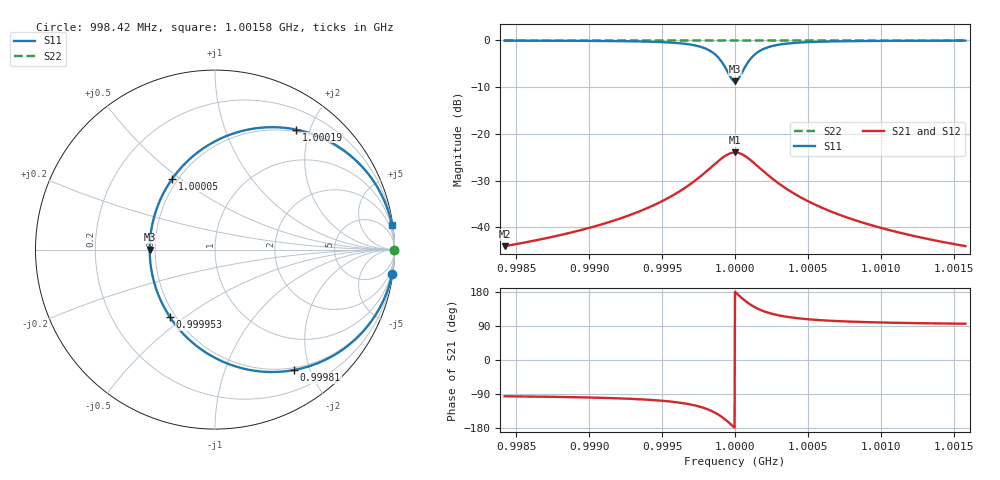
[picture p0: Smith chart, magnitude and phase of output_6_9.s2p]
! File generated for n1 = 6, n2 = 9
! b1 = 2.154435
! b2 = 0.004642
! Q0 = 10000.000000
! f0 = 1000000000.000000
! n = 1001
! rel_span = 10.000000
# Hz S RI R 50
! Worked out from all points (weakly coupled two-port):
!   1001 points, 998.42 MHz to 1.00158 GHz, reference 50 ohm
!   highest |S21| = -23.97 dB at 1 GHz (marker M1); lowest = -44.0 dB at 998.42 MHz (marker M2)
!   lowest |S11| = -8.8 dB at 1 GHz (marker M3), VSWR 2.14, Z = 23.3 + j0 ohm
!   |S11| at or under -10 dB: nowhere
!   |S22| runs from 0.0 to 0.0 dB; largest |S21 - S12| = 0
!   S11 on the Smith chart (normalised r, x): 998.42 MHz: 0, -15; 999.81 MHz: 0.47, -1.76; 999.953 MHz: 0.47, -0.44; 1.00005 GHz: 0.47, +0.47; 1.00019 GHz: 0.47, +1.79; 1.00158 GHz: 0, +15
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9.984205e8  0.9865 -0.1349  -0.000626 -0.00626  -0.000626 -0.00626  1 -0.000291
9.98948e8  0.97 -0.2002  -0.00139 -0.00929  -0.00139 -0.00929  0.9999 -0.000431
9.992481e8  0.9424 -0.2743  -0.00267 -0.0127  -0.00267 -0.0127  0.9999 -0.000591
9.994756e8  0.8866 -0.3766  -0.00526 -0.0175  -0.00526 -0.0175  0.9998 -0.000811
9.996778e8  0.7358 -0.539  -0.0123 -0.025  -0.0123 -0.025  0.9994 -0.00116
9.997504e8  0.61 -0.6163  -0.0181 -0.0286  -0.0181 -0.0286  0.9992 -0.00133
9.998105e8  0.4411 -0.6708  -0.0259 -0.0311  -0.0259 -0.0311  0.9988 -0.00145
9.998894e8  0.0846 -0.6408  -0.0425 -0.0297  -0.0425 -0.0297  0.998 -0.00138
9.99921e8  -0.0912 -0.5456  -0.0506 -0.0253  -0.0506 -0.0253  0.9976 -0.00118
9.999526e8  -0.2513 -0.3754  -0.0581 -0.0174  -0.0581 -0.0174  0.9973 -0.000809
1e9  -0.364 0  -0.0633 0  -0.0633 0  0.9971 0
1.000025e9  -0.3299 0.2128  -0.0617 0.00988  -0.0617 0.00988  0.9971 0.000458
1.000051e9  -0.2373 0.3959  -0.0574 0.0184  -0.0574 0.0184  0.9973 0.000853
1.000079e9  -0.0912 0.5456  -0.0506 0.0253  -0.0506 0.0253  0.9976 0.00118
1.000111e9  0.0846 0.6408  -0.0425 0.0297  -0.0425 0.0297  0.998 0.00138
1.000145e9  0.2612 0.6796  -0.0343 0.0315  -0.0343 0.0315  0.9984 0.00146
1.000193e9  0.4518 0.6687  -0.0254 0.031  -0.0254 0.031  0.9988 0.00144
1.000253e9  0.6168 0.6131  -0.0178 0.0285  -0.0178 0.0285  0.9992 0.00132
1.000325e9  0.7398 0.5359  -0.0121 0.0249  -0.0121 0.0249  0.9994 0.00115
1.000528e9  0.8877 0.3749  -0.00521 0.0174  -0.00521 0.0174  0.9998 0.000808
1.001055e9  0.9701 0.1998  -0.00139 0.00927  -0.00139 0.00927  0.9999 0.00043
1.00158e9  0.9865 0.1352  -0.000628 0.00627  -0.000628 0.00627  1 0.000291
